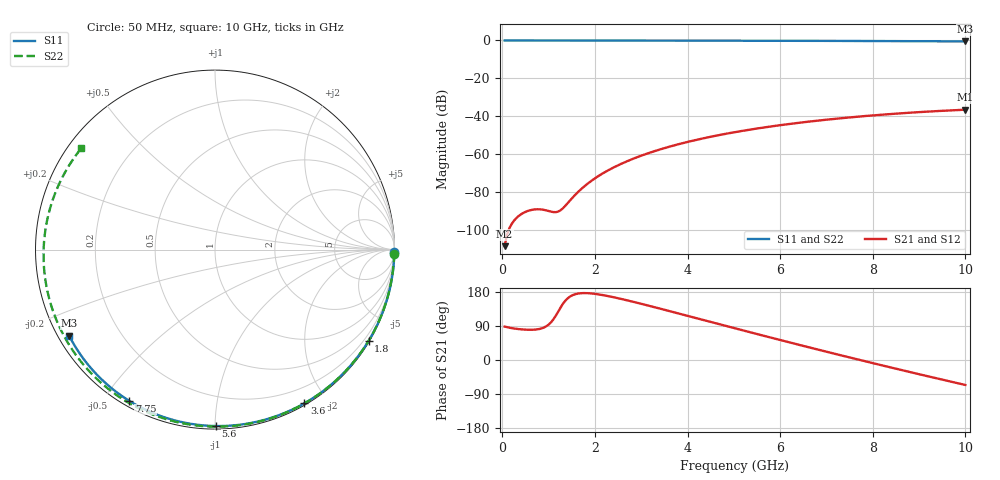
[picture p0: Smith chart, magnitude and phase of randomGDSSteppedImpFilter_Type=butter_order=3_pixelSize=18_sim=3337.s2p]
! freq	dB(S11)	phase(S11)	dB(S12)	phase(S12)
!  dB(S21)	phase(S21)	dB(S22)	phase(S22)
!S-par simulation data
#  GHz  S  DB  R 50
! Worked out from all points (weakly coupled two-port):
!   200 points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, 50 MHz to 10 GHz, reference 50 ohm
!   highest |S21| = -36.54 dB at 10 GHz (marker M1); lowest = -108.5 dB at 50 MHz (marker M2)
!   lowest |S11| = -0.5 dB at 10 GHz (marker M3), VSWR 34.51, Z = 1.56 - j13.6 ohm
!   |S11| at or under -10 dB: nowhere
!   |S22| runs from -0.6 to 0.0 dB; largest |S21 - S12| = 0
!   S11 on the Smith chart (normalised r, x): 50 MHz: open; 1.8 GHz: 0.03, -3.64; 3.6 GHz: 0.02, -1.74; 5.6 GHz: 0.02, -1.00; 7.75 GHz: 0.02, -0.58; 10 GHz: 0.03, -0.27
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0.05  -0.00 -0.8  -108.55 88.3  -108.55 88.3  -0.01 -1.3
0.4  -0.01 -6.9  -91.80 81.0  -91.80 81.0  -0.02 -10.5
0.8  -0.02 -13.8  -89.10 81.8  -89.10 81.8  -0.03 -21.0
1.6  -0.03 -27.3  -80.82 174.4  -80.82 174.4  -0.05 -41.4
1.65  -0.04 -28.2  -79.63 175.5  -79.63 175.5  -0.05 -42.6
1.75  -0.04 -29.9  -77.42 176.6  -77.42 176.6  -0.06 -45.1
1.8  -0.04 -30.7  -76.39 176.6  -76.39 176.6  -0.06 -46.4
2.1  -0.05 -35.7  -71.18 172.8  -71.18 172.8  -0.07 -53.7
2.45  -0.05 -41.4  -66.46 164.4  -66.46 164.4  -0.08 -62.2
2.9  -0.06 -48.7  -61.71 151.4  -61.71 151.4  -0.09 -72.7
3.4  -0.08 -56.7  -57.55 135.8  -57.55 135.8  -0.11 -84.1
3.6  -0.08 -59.8  -56.11 129.4  -56.11 129.4  -0.11 -88.5
4.3  -0.10 -70.6  -51.86 106.9  -51.86 106.9  -0.14 -103.5
5.05  -0.13 -81.8  -48.27 82.8  -48.27 82.8  -0.17 -119.0
5.6  -0.15 -89.8  -46.10 65.3  -46.10 65.3  -0.20 -129.9
6.15  -0.17 -97.6  -44.23 48.1  -44.23 48.1  -0.24 -140.6
6.7  -0.21 -105.3  -42.60 31.0  -42.60 31.0  -0.28 -151.2
7.25  -0.24 -112.8  -41.19 14.3  -41.19 14.3  -0.32 -161.8
7.75  -0.28 -119.5  -40.06 -0.8  -40.06 -0.8  -0.36 -171.4
8.35  -0.33 -127.5  -38.89 -18.6  -38.89 -18.6  -0.42 176.9
9.2  -0.41 -138.8  -37.52 -43.3  -37.52 -43.3  -0.50 159.8
10  -0.50 -149.5  -36.54 -65.9  -36.54 -65.9  -0.59 142.9
